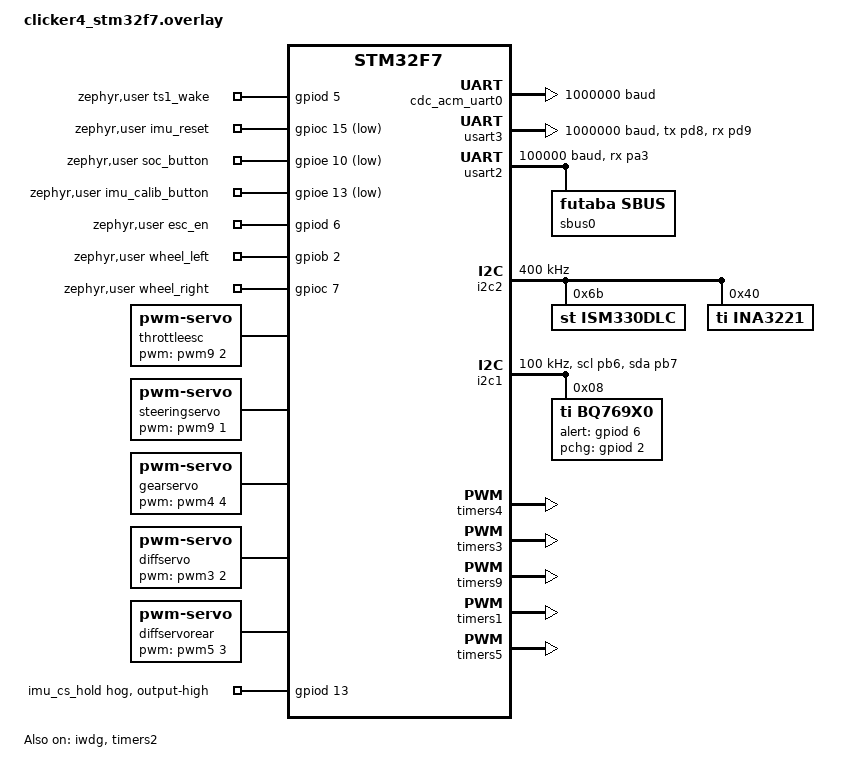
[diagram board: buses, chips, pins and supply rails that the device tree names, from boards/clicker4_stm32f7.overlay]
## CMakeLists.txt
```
# SPDX-License-Identifier: Apache-2.0


message(WARNING 
"========================================================================
MICRO-ROS BUILD NOTICE:
If you have changed the target board/port and are doing a pristine build,
you may need to manually remove micro-ROS build artifacts:
  rm -rf modules/lib/micro_ros_zephyr_module/modules/libmicroros/libmicroros.a
  rm -rf modules/lib/micro_ros_zephyr_module/modules/libmicroros/micro_ros_src/build
This ensures micro-ROS rebuilds for the correct target architecture.
========================================================================")


cmake_minimum_required(VERSION 3.13.1)

list(APPEND ZEPHYR_EXTRA_MODULES ${CMAKE_CURRENT_SOURCE_DIR}/../../modules/lib/micro_ros_zephyr_module/modules/libmicroros)
list(APPEND ZEPHYR_EXTRA_MODULES
    ${CMAKE_CURRENT_SOURCE_DIR}/../../drivers
    ${CMAKE_CURRENT_SOURCE_DIR}/../../external/modules/debug/segger
)

find_package(Zephyr REQUIRED HINTS $ENV{ZEPHYR_BASE})
project(svea_lli_control C CXX)

# Include directories
target_include_directories(app PRIVATE include)
target_include_directories(app PRIVATE
    ${CMAKE_CURRENT_SOURCE_DIR}/../../modules/lib/svea-bms/app/src
    ${CMAKE_CURRENT_SOURCE_DIR}/../../modules/lib/svea-bms/app/src/bq769x0
)

# Source files
target_sources(app PRIVATE
    src/main.c
    src/control.c
    src/rc_input.c
    src/ros_iface.c
    src/imu_sensor.c
    src/ina3221_sensor.c
    src/wheel_enc.c
    # BMS integration
    src/bms.cpp
    ${CMAKE_CURRENT_SOURCE_DIR}/../../modules/lib/svea-bms/app/src/bms_common.c
    ${CMAKE_CURRENT_SOURCE_DIR}/../../modules/lib/svea-bms/app/src/bms_soc.c
    ${CMAKE_CURRENT_SOURCE_DIR}/../../modules/lib/svea-bms/app/src/wake_chip.c
    ${CMAKE_CURRENT_SOURCE_DIR}/../../modules/lib/svea-bms/app/src/helper.cpp
    ${CMAKE_CURRENT_SOURCE_DIR}/../../modules/lib/svea-bms/app/src/bq769x0/bms_bq769x0.c
    ${CMAKE_CURRENT_SOURCE_DIR}/../../modules/lib/svea-bms/app/src/bq769x0/interface.c
)
```

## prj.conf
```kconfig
CONFIG_GPIO=y
CONFIG_CPP=y

# Micro-ROS configuration
CONFIG_MICROROS=y
CONFIG_MICROROS_TRANSPORT_SERIAL_USB=y
CONFIG_MICROROS_PUBLISHERS="10"
CONFIG_MICROROS_SUBSCRIBERS="10"
CONFIG_MICROROS_CLIENTS="8"
CONFIG_MICROROS_SERVERS="8"
CONFIG_MICROROS_XRCE_DDS_MTU="2048"
CONFIG_UART_LINE_CTRL=y


# Serial/USB for Micro-ROS
CONFIG_USB_DEVICE_STACK=y
CONFIG_USB_CDC_ACM=y
CONFIG_USB_CDC_ACM_RINGBUF_SIZE=16384
CONFIG_USB_REQUEST_BUFFER_SIZE=16384
CONFIG_SERIAL=y
CONFIG_CONSOLE=y
CONFIG_UART_CONSOLE=y
CONFIG_LOG_BACKEND_UART=y
CONFIG_UART_INTERRUPT_DRIVEN=y
CONFIG_UART_USE_RUNTIME_CONFIGURE=y
CONFIG_INPUT=y
CONFIG_INPUT_SBUS=y
# disable SBUS sync events; rely on raw event cadence instead
CONFIG_INPUT_SBUS_SEND_SYNC=n
# Helpful debug while bringing up SBUS
# Set Input subsystem logging to DEBUG level
# CONFIG_INPUT_EVENT_DUMP=y

# Scheduler and threads
CONFIG_NUM_PREEMPT_PRIORITIES=16
CONFIG_SYSTEM_WORKQUEUE_PRIORITY=2
CONFIG_MAIN_STACK_SIZE=8192
CONFIG_MAIN_THREAD_PRIORITY=0
CONFIG_WDT_DISABLE_AT_BOOT=y

# C library and POSIX
CONFIG_NEWLIB_LIBC=y
CONFIG_NEWLIB_LIBC_NANO=n
CONFIG_PTHREAD_IPC=n
CONFIG_POSIX_API=y
CONFIG_POSIX_CLOCK=y

# System
CONFIG_SYS_CLOCK_TICKS_PER_SEC=1000
CONFIG_BUILD_OUTPUT_HEX=y

# Sensors
CONFIG_SENSOR=y
CONFIG_I2C=y
CONFIG_SPI=y
CONFIG_ISM330DLC=y

# Encoders configuration (add specific encoder configs below as needed)
CONFIG_COUNTER=y
CONFIG_COUNTER_TIMER_STM32=y

# PWM control and capture - Zephyr 4.1 compliant
CONFIG_PWM=y
CONFIG_PWM_CAPTURE=y
CONFIG_PWM_STM32=y
CONFIG_PINCTRL=y

# Safety
CONFIG_WATCHDOG=y

# Debug and logging (disable consoles to avoid USART3 conflicts)
CONFIG_STDOUT_CONSOLE=y
CONFIG_PRINTK=y
CONFIG_UART_CONSOLE=y
CONFIG_FAULT_DUMP=2
CONFIG_THREAD_NAME=y
CONFIG_THREAD_MONITOR=y
CONFIG_LOG=n
CONFIG_LOG_DEFAULT_LEVEL=0
# Enable float formatting in logs/printf
CONFIG_CBPRINTF_FP_SUPPORT=y
CONFIG_NEWLIB_LIBC_FLOAT_PRINTF=y
#- Level 0: Off
#- Level 1: Error
#- Level 2: Warning
#- Level 3: Info
#- Level 4: Debug

# Additional debugging
CONFIG_ASSERT=y
CONFIG_ASSERT_VERBOSE=y
CONFIG_COMPILER_WARNINGS_AS_ERRORS=n

CONFIG_STACK_SENTINEL=y
CONFIG_THREAD_ANALYZER=y
CONFIG_ASSERT=y

# CRC support needed by BMS interface (crc8_ccitt)
CONFIG_CRC=y
# Enable TDK HAL so the ICM42x7x driver can include its EMD headers
CONFIG_TDK_HAL=y

CONFIG_SENSOR=y
CONFIG_LOG=y
CONFIG_SENSOR_LOG_LEVEL_DBG=n

# Floating point format support
# Selecting this increases stack size requirements slightly, but increases code size significantly.
CONFIG_CBPRINTF_FP_SUPPORT=y

# Trigger mode: sample is using interrupt triggering
CONFIG_ICM42X70_TRIGGER_OWN_THREAD=y
CONFIG_SERIAL=y
CONFIG_CONSOLE=y
CONFIG_STDOUT_CONSOLE=y
CONFIG_UART_CONSOLE=y
CONFIG_PRINTK=y          
CONFIG_LOG_BACKEND_UART=y  
```

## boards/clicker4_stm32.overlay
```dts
&cdc_acm_uart0 {
    current-speed = <115200>;
    bq769x0: bq769x0@8 {
        compatible = "ti,bq769x0";
        reg = <0x08>;
        alert-gpios = <&gpioa 8 GPIO_ACTIVE_HIGH>;
        pchg-gpios = <&gpiod 2 GPIO_ACTIVE_HIGH>;
        status = "okay";
    };
};

&usart1 {
    current-speed = <115200>;
};

&i2c2 {
    status = "okay";
    clock-frequency = <I2C_BITRATE_FAST>;
    imu: ism330dlc@6b {
        status = "okay";
        compatible = "st,ism330dlc";
        drdy-gpios = <&mb1 15 GPIO_ACTIVE_HIGH>,
                     <&mb1  1 GPIO_ACTIVE_HIGH>;
        accel-odr = <8>;
        gyro-odr = <8>;
        accel-range = <4>;
        gyro-range = <250>;
        reg = <0x6b>;
        label = "ISM330DLC";
    };
};

&iwdg {
    status = "okay";
};

#include <zephyr/dt-bindings/pwm/pwm.h>
#include <zephyr/dt-bindings/input/input-event-codes.h>

/* Pinmux definitions - silkscreen label in comments */
&pinctrl {
    tim1_ch1_pe9: tim1_ch1_pe9    { pinmux = <STM32_PINMUX('E', 9, AF1)>;  }; // P1

    tim2_ch4_pb11: tim2_ch4_pb11   { pinmux = <STM32_PINMUX('B', 11, AF1)>; }; // P3
    tim12_ch1_ph6: tim12_ch1_ph6   { pinmux = <STM32_PINMUX('H', 6, AF9)>;  }; // P4
    tim3_ch1_pa6: tim3_ch1_pa6    { pinmux = <STM32_PINMUX('A', 6, AF2)>;  }; // MISO1
    tim3_ch2_pa7: tim3_ch2_pa7    { pinmux = <STM32_PINMUX('A', 7, AF2)>;  };
    tim4_ch3_pb8: tim4_ch3_pb8    { pinmux = <STM32_PINMUX('B', 8, AF2)>;  }; // SCL1
    tim5_ch1_ph10: tim5_ch1_ph10   { pinmux = <STM32_PINMUX('H', 10, AF2)>; }; // P5
    tim15_ch1_pe4: tim15_ch1_pe4   { pinmux = <STM32_PINMUX('E', 4,  AF2)>; };
    tim9_ch1_pa2: tim9_ch1_pa2    { pinmux = <STM32_PINMUX('A', 2, AF3)>;  }; // TX1 (silkscreen), TX2 (datasheet)
    tim11_ch4_pb9: tim11_ch4_pb9   { pinmux = <STM32_PINMUX('B', 9, AF2)>;  bias-disable;}; // NEW ESC
    tim2_ch1_pa5: tim2_ch1_pa5 { pinmux = <STM32_PINMUX('A', 5, AF1)>; }; // P11 (PA5, TIM2_CH1, SCK1)

    tim2_ch2_pa1: tim2_ch2_pa1 { pinmux = <STM32_PINMUX('A', 1, AF1)>; }; // SCK1 (silkscreen), SCL1 (datasheet)

    //tim14_ch1_pf14: tim14_ch1_pf14 { pinmux = <STM32_PINMUX('F', 14, AF9)>; }; // new ESC out

};

/* PWM Output timers - silkscreen label in comments */
&timers2 {
    status = "okay";
    st,prescaler = <107>;
    pwm2: pwm {
        compatible = "st,stm32-pwm";
        status = "okay";
        #pwm-cells = <3>;
        pinctrl-0 = <&tim2_ch3_pb10 &tim2_ch4_pb11 &tim2_ch1_pa5 &tim2_ch2_pa1>; // P2, P3, P11, PA1
        pinctrl-names = "default";
    };
};

&timers4 {
    status = "okay";
    st,prescaler = <215>;
    pwm4: pwm {
        compatible = "st,stm32-pwm";
        status = "okay";
        #pwm-cells = <3>;
        pinctrl-0 = <&tim11_ch4_pb9>;
        pinctrl-names = "default";
    };
};

/* PWM Input capture timers - silkscreen label in comments */
&timers3 {
    status = "okay";
    st,prescaler = <107>;
    pwm3_in: pwm {
        compatible = "st,stm32-pwm";
        status = "okay";
        #pwm-cells = <3>;
        pinctrl-0 = <&tim3_ch1_pa6>; // MISO1
        pinctrl-names = "default";
    };
};


&timers12 {
    status = "okay";
    st,prescaler = <107>;

    pwm12_in: pwm {
        compatible = "st,stm32-pwm";
        status = "okay";
        #pwm-cells = <3>;
        pinctrl-0 = <&tim12_ch1_ph6>;   // PH6 (P4) now capture
        pinctrl-names = "default";
    };
};

&timers9 {
    status = "okay";
    st,prescaler = <215>;
    pwm9_in: pwm {
        compatible = "st,stm32-pwm";
        status = "okay";
        #pwm-cells = <3>;
        pinctrl-0 = <&tim9_ch1_pa2>; // TX1 (silkscreen), TX2 (datasheet)
        pinctrl-names = "default";
    };
};

&timers5 {
    status = "okay";
    st,prescaler = <107>;
    pwm5_in: pwm {
        compatible = "st,stm32-pwm";
        status = "okay";
        #pwm-cells = <3>;
        pinctrl-0 = <&tim5_ch1_ph10>; // P5
        pinctrl-names = "default";
    };
};


#include <zephyr/dt-bindings/timer/stm32-timer.h>


/ {
    // Servo output nodes - silkscreen label in comments
    steeringservo: servo {
        compatible = "pwm-servo";
        pwms = <&pwm2 2 10000000 PWM_POLARITY_NORMAL>; // P1
        min-pulse = <PWM_USEC(1000)>;
        max-pulse = <PWM_USEC(2100)>;
    };
    gearservo: gear_servo {
        compatible = "pwm-servo";
        pwms = <&pwm2 4 10000000 PWM_POLARITY_NORMAL>; // P3
        min-pulse = <PWM_USEC(1000)>;
        max-pulse = <PWM_USEC(2100)>;
    };
    throttleesc: throttle_esc {
        compatible = "pwm-servo";
        pwms = <&pwm4 4 10000000 PWM_POLARITY_NORMAL>; // P4
        min-pulse = <PWM_USEC(1000)>;
        max-pulse = <PWM_USEC(2100)>;
    };
    diffservo: diff_servo {
        compatible = "pwm-servo";
        pwms = <&pwm2 3 10000000 PWM_POLARITY_NORMAL>; // P2
        min-pulse = <PWM_USEC(1000)>;
        max-pulse = <PWM_USEC(2100)>;
    };
    diffservorear: diff_servo_rear {
        compatible = "pwm-servo";
        pwms = <&pwm2 1 10000000 PWM_POLARITY_NORMAL>; // P11 (PA5, TIM2_CH1, SCK1)
        min-pulse = <PWM_USEC(1000)>;
        max-pulse = <PWM_USEC(2100)>;
    };
};


/ {
    /* Board-specific DT data used by BMS and wake_chip */
    pcb {
        compatible = "bms";
        num-cells-max = <5>;
        num-thermistors-max = <0>;
        current-max = <20>;
        shunt-res = <4000>;
        type = "CustomPack";
        version-str = "svea-v0.1";
        version-num = <1>;
    };

    zephyr,user {
        ts1_wake_gpios = <&gpiob 1 GPIO_ACTIVE_HIGH>;
        /* MikroBUS RST pin selects the CS analog mux (keep host -> IMU path) */
        imu_reset_gpios = <&gpioc 15 GPIO_ACTIVE_LOW>;
    };

    wheel_encoders: wheel_encoders {
        compatible = "gpio-keys";
        status = "disabled";
        wheel_left: wheel_left {
            gpios = <&gpioc 0 GPIO_ACTIVE_HIGH>;
            zephyr,code = <INPUT_KEY_0>;
            label = "WHEEL_LEFT";
            debounce-us = <1000>;
        };
        wheel_right: wheel_right {
            gpios = <&gpioi 10 GPIO_ACTIVE_HIGH>;
            zephyr,code = <INPUT_KEY_1>;
            label = "WHEEL_RIGHT";
            debounce-us = <1000>;
        };
    };
};


/ {
    chosen {
        zephyr,console = &usart3;
        zephyr,shell-uart = &usart3;
    };

    aliases {
        /* PWM capture inputs (RC receiver) - silkscreen label in comments */
        rc-steer    = &pwm3_in;   // MISO1
        rc-high-gear     = &pwm9_in;   // TX1 (silkscreen), TX2 (datasheet)
        rc-throttle = &pwm5_in;   // P5
        rc-override = &pwm12_in;   // SCL1

        /* PWM outputs (servos/ESC) - silkscreen label in comments */
        // steeringservo = &servo;           // P1
        // gearservo = &gear_servo;          // P3
        // throttleesc = &throttle_esc;      // P4
        // diffservo = &diff_servo;          // P2
        // diffservorear = &diff_servo_rear; // PA5, TIM2_CH1, SCK1

        wheel-left-gpio  = &wheel_left;
        wheel-right-gpio = &wheel_right;
        //wheel-right = &timers13;

        imu = &imu;
        watchdog0 = &iwdg;
    };
};
```

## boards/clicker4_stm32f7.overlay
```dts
&cdc_acm_uart0 { // For mikroros
    current-speed = <1000000>;
};

&usart1 {
    status = "disabled";
};

&usart3 {
    status = "okay";
    pinctrl-0 = <&usart3_tx_pd8 &usart3_rx_pd9>;
    pinctrl-names = "default";
    current-speed = <1000000>;
};

/* For input event codes used by futaba,sbus */
#include <zephyr/dt-bindings/input/input-event-codes.h>



&usart2 {
    status = "okay";
    pinctrl-0 = <&usart2_rx_pa3>;
    /* The SBUS driver configures 100000/8E2 at runtime; these are harmless */
    current-speed = <100000>;
    parity = "even";
    stop-bits = "2";
    rx-invert;              /* SBUS is inverted */
    /* optional: hw-flow-control = "none"; */

    /* Map SBUS channels to input events: 1=steer, 2=throttle, 4=diff_button, 6=gear, 5=override */
    sbus0: sbus {
        compatible = "futaba,sbus";
        status = "okay";
        ch1_steer: ch1 {
            channel = <1>;
            type = <INPUT_EV_ABS>;
            zephyr,code = <INPUT_ABS_X>;
        };
        ch2_throttle: ch2 {
            channel = <2>;
            type = <INPUT_EV_ABS>;
            zephyr,code = <INPUT_ABS_Y>;
        };
        ch4_diff_button: ch4 {
            channel = <4>;
            type = <INPUT_EV_ABS>;
            zephyr,code = <INPUT_ABS_Z>;
        };
        ch5_override: ch5 {
            channel = <5>;
            type = <INPUT_EV_ABS>;
            zephyr,code = <INPUT_ABS_RX>;
        };
        ch6_gear: ch6 {
            channel = <6>;
            type = <INPUT_EV_ABS>;
            zephyr,code = <INPUT_ABS_RY>;
        };
    };
};

&button4 {
    status = "disabled";
};

&i2c2 {
    status = "okay";
    clock-frequency = <I2C_BITRATE_FAST>; // Somethings weird with it, fast only works with too aggressive a pullup

icm42670: icm42670@68 {
    compatible = "invensense,icm42670p";
    reg = <0x68>;
    //int-gpios = <&gpioc 7 GPIO_ACTIVE_HIGH>;

    gyro-hz = <800>;
    accel-hz = <800>;
    accel-fs = <8>;
    gyro-fs = <1000>;
    status = "disabled";
};
   ism330dlc: ism330dlc@6b {
        compatible = "st,ism330dlc";
        reg = <0x6b>;
        //drdy-gpios = <&gpiod 0 GPIO_ACTIVE_HIGH>;
        //int-pin = <1>;
        accel-odr = <9>;
        accel-range = <8>;
        gyro-odr = <8>;
        gyro-range = <1000>;
        status = "okay";
    };
    ina3221: ina3221@40 {
        compatible = "ti,ina3221";
        reg = <0x40>;
        shunt-resistors = <4 8 8>; /* ESC=4 mOhm, 12V=8 mOhm, 5V=8 mOhm */
        avg-mode = <1>;              /* 128-sample average for less noise */
        conv-time-bus = <2>;         
        conv-time-shunt = <4>;       /* 1.1 ms */
        status = "okay";
    };

};

&i2c1 {
    status = "okay";
    pinctrl-0 = <&i2c1_scl_pb6 &i2c1_sda_pb7>;
    pinctrl-names = "default";
    clock-frequency = <I2C_BITRATE_STANDARD>;

    /* Battery monitor (TI bq769x0 family) relocated to I2C1 */
    bq769x0: bq769x0@8 {
        compatible = "ti,bq769x0";
        reg = <0x08>;
        /* ALERT pin from BMS IC to MCU GPIO (adjust to your wiring) */
        alert-gpios = <&gpiod 6 GPIO_ACTIVE_HIGH>; /* ALERT rerouted to PD6 */
        /* Precharge control (BQ76200 PCHG) connected to PD2 */
        pchg-gpios = <&gpiod 2 GPIO_ACTIVE_HIGH>;
        status = "okay";
    };
};

&spi1 {
    status = "disabled";
};

&gpiod {
    imu_cs_hold: imu_cs_hold {
        gpio-hog;
        gpios = <13 GPIO_ACTIVE_HIGH>;
        output-high;
    };
};

&gpioc {
    /* PC15 is routed to mikroBUS1 RST */
};

&iwdg {
    status = "okay";
};

#include <zephyr/dt-bindings/pwm/pwm.h>
// #include <st/f7/stm32f745i(e-g)tx-pinctrl.dtsi>
/* PWM Output timers - silkscreen label in comments */
/* TIM2 no longer used for PWM on PB10/PB11 to avoid I2C2 conflict */
&timers2 {
    status = "okay";
};

&timers4 {
    status = "okay";
    st,prescaler = <215>;
    pwm4: pwm {
        compatible = "st,stm32-pwm";
        status = "okay";
        #pwm-cells = <3>;
        pinctrl-0 = <&tim4_ch4_pb9>; // PB9 (Servo P2) via TIM4_CH4
        pinctrl-names = "default";
    };
};

/* PWM Input capture timers - silkscreen label in comments */
&timers3 {
    status = "okay";
    st,prescaler = <107>;
    pwm3: pwm {
        compatible = "st,stm32-pwm";
        status = "okay";
        #pwm-cells = <3>;
        pinctrl-0 = <&tim3_ch2_pb5>; // PB5 (Diff front)
        pinctrl-names = "default";
    };
};

&timers9 {
    status = "okay";
    st,prescaler = <215>;
    pwm9: pwm {
        compatible = "st,stm32-pwm";
        status = "okay";
        #pwm-cells = <3>;
        pinctrl-0 = < &tim9_ch1_pe5 &tim9_ch2_pe6>; // PE5 (Servo P3) TIM9_CH1, PE6 (Servo P4) TIM9_CH2
        pinctrl-names = "default";
    };
};

/* TIM15 is not present on STM32F745; use TIM1 instead for rear diff (PE9 TIM1_CH1) */
&timers1 {
    status = "okay";
    st,prescaler = <215>;
    pwm1: pwm {
        compatible = "st,stm32-pwm";
        status = "okay";
        #pwm-cells = <3>;
        pinctrl-0 = <&tim1_ch1_pe9 &tim1_ch4_pe14>; // PE9 (unused reserve), PE14 (Diff front)
        pinctrl-names = "default";
    };
};

&timers5 {
    status = "okay";
    st,prescaler = <215>;
    pwm5: pwm {
        compatible = "st,stm32-pwm";
        status = "okay";
        #pwm-cells = <3>;
        pinctrl-0 = <&tim5_ch3_pa2>; // PA2 (Servo P5) via TIM5_CH3
        pinctrl-names = "default";
    };
};


#include <zephyr/dt-bindings/timer/stm32-timer.h>


/ {
    /* Board-specific constants expected by BMS lib */
    pcb {
        compatible = "bms";
        /* Adjust these to your pack and shunt */
        num-cells-max = <5>;              /* e.g. 3S-5S bq76920 */
        num-thermistors-max = <0>;        /* set 0/1/2/3 matching your wiring */
        current-max = <30>;               /* A, informational */
        shunt-res = <4000>;               /* mOhm in milli (e.g. 4 mOhm => 4000) */
        type = "Powerboard 3.0";
        version-str = "svea-v0.1";
        version-num = <1>;
    };

    /* TS1 wake control GPIO for the BMS IC (used by wake_chip.c) */
    zephyr,user {
        ts1_wake_gpios = <&gpiod 5 GPIO_ACTIVE_HIGH>; /* adjust to your wiring */
        /* MikroBUS RST pin selects the CS analog mux (keep host -> IMU path) */
        imu_reset_gpios = <&gpioc 15 GPIO_ACTIVE_LOW>; /* mikroBUS1 RST */
        soc_button_gpios = <&gpioe 10 GPIO_ACTIVE_LOW>; /* User BTN1 */
        imu_calib_button_gpios = <&gpioe 13 (GPIO_ACTIVE_LOW | GPIO_PULL_UP)>; /* User BTN4 */
        esc_en_gpios = <&gpiod 6 (GPIO_OPEN_DRAIN | GPIO_ACTIVE_HIGH)>; /* PD6 to enable ESCs (active high) */
        wheel_left_gpios = <&gpiob 2 GPIO_ACTIVE_HIGH>;
        wheel_right_gpios = <&gpioc 7 GPIO_ACTIVE_HIGH>;
    };


    throttleesc: throttle_esc {
        compatible = "pwm-servo";
        pwms = <&pwm9 2 10000000 PWM_POLARITY_NORMAL>; // throttle -> PE6 TIM9_CH2
        min-pulse = <PWM_USEC(1000)>;
        max-pulse = <PWM_USEC(2100)>;
    };

    // Servo output nodes - silkscreen label in comments
    steeringservo: servo {
        compatible = "pwm-servo";
        pwms = <&pwm9 1 10000000 PWM_POLARITY_NORMAL>; // steer -> PE5 TIM9_CH1
        min-pulse = <PWM_USEC(1000)>;
        max-pulse = <PWM_USEC(2100)>;
    };
    gearservo: gear_servo {
        compatible = "pwm-servo";
        pwms = <&pwm4 4 10000000 PWM_POLARITY_NORMAL>; // speed -> PB9 TIM4_CH4
        min-pulse = <PWM_USEC(1000)>;
        max-pulse = <PWM_USEC(2100)>;
    };
    diffservo: diff_servo {
        compatible = "pwm-servo";
        pwms = <&pwm3 2 10000000 PWM_POLARITY_NORMAL>; // diff front -> PB5 TIM3_CH2
        min-pulse = <PWM_USEC(1000)>;
        max-pulse = <PWM_USEC(2100)>;
    };
    diffservorear: diff_servo_rear {
        compatible = "pwm-servo";
        status = "okay";
        pwms = <&pwm5 3 10000000 PWM_POLARITY_NORMAL>; // rear diff -> PA2 TIM5_CH3
        min-pulse = <PWM_USEC(1000)>;
        max-pulse = <PWM_USEC(2100)>;
    };
};

/ {
    chosen {
        zephyr,console = &usart3;
        zephyr,shell-uart = &usart3;
    };

    aliases {
        /* RC PWM capture aliases removed: using SBUS on USART2 instead */
        imu = &ism330dlc;
        ina3221 = &ina3221;
        watchdog0 = &iwdg;
    };
};
```

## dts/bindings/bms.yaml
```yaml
# Copyright (c) The Libre Solar Project Contributors
# SPDX-License-Identifier: Apache-2.0

description: Generic BMS device setup

compatible: "bms"

properties:
  type:
    type: string
    required: true
    description: Device type

  version-str:
    type: string
    required: true
    description: Hardware version number (human-readable)

  version-num:
    type: int
    required: true
    description: Hardware version number (usable in preprocessor defines)

  num-cells-max:
    type: int
    required: true
    description: Maximum number of cells supported by this board

  num-thermistors-max:
    type: int
    required: true
    description: Maximum number of thermistors supported by this board

  current-max:
    type: int
    description: Maximum charge/discharge current in amps

  shunt-res:
    type: int
    description: Resistance of shunt in micro-Ohms
```

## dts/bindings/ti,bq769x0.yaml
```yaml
# Copyright (c) The Libre Solar Project Contributors
# SPDX-License-Identifier: Apache-2.0

description: Texas Instruments bq769x0 li-ion and li-phosphate battery monitor

compatible: "ti,bq769x0"

include: i2c-device.yaml

properties:
  alert-gpios:
    type: phandle-array
    required: true
    description: Alert interrupt of bq769x0

  pchg-gpios:
    type: phandle-array
    required: false
    description: |
      GPIO to enable/disable the bus pre-charge MOSFET.
```

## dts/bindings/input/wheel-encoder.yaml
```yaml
description: Custom wheel encoder key with debounce
compatible: "wheel-encoder-key"
include: base.yaml
properties:
  gpios:
    type: phandle-array
    required: true
  label:
    type: string
  debounce-us:
    type: int
    required: false
    description: Debounce time in microseconds
```

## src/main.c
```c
#/* * * * * * * * * * * * * * * * * * * * * * * * * * * * * * * * * * * * * * * *
# * SVEA Note.
# *
# * Part of the SVEA Low‑Level Interface (Zephyr) application.
# * Author: Nils Kiefer
# * * * * * * * * * * * * * * * * * * * * * * * * * * * * * * * * * * * * * * */

#include "control.h"
#include "imu_sensor.h"
#include "ina3221_sensor.h"
#include "rc_input.h"
#include "ros_iface.h"
#include "wheel_enc.h"
#include <stdio.h>
#include <zephyr/drivers/watchdog.h>
#include <zephyr/kernel.h>
#include <zephyr/logging/log.h>
#include <zephyr/usb/usb_device.h>
LOG_MODULE_REGISTER(main, LOG_LEVEL_INF);

#define WDT_TIMEOUT_MS 2000

static const struct device *wdt;
static int wdt_channel_id = -1;

static void app_wdt_setup(void) {
    wdt = DEVICE_DT_GET(DT_ALIAS(watchdog0));
    if (!device_is_ready(wdt)) {
        LOG_ERR("Watchdog device not ready!");
        return;
    }

    struct wdt_timeout_cfg cfg = {
        .window = {
            .min = 0,
            .max = WDT_TIMEOUT_MS,
        },
        .callback = NULL, // NULL = reset on timeout
        .flags = WDT_FLAG_RESET_SOC};

    wdt_channel_id = wdt_install_timeout(wdt, &cfg);
    if (wdt_channel_id < 0) {
        LOG_ERR("Failed to install watchdog timeout");
        return;
    }
    if (wdt_setup(wdt, 0) < 0) { // This line is correct: calls Zephyr's wdt_setup
        LOG_ERR("Failed to setup watchdog");
    } else {
        LOG_INF("Watchdog started (%d ms timeout)", WDT_TIMEOUT_MS);
    }
}

int main(void) {
    LOG_INF("SVEA LLI starting");
    k_sleep(K_SECONDS(1)); // Allow time for logging to initialize
    app_wdt_setup();
    k_sleep(K_SECONDS(1)); // Allow time for watchdog setup

    rc_input_init();
    servo_init();

    if (ina3221_sensor_init() != 0) {
        LOG_WRN("INA3221 sensor init failed");
    }
    imu_sensor_start();
    wheel_enc_init();

    ros_iface_init();

    while (1) {
        if (wdt_channel_id >= 0) {
            wdt_feed(wdt, wdt_channel_id);
        }
        k_sleep(K_MSEC(500)); // Feed often enough to avoid reset
    }

    return 0;
}
```

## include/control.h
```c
/* * * * * * * * * * * * * * * * * * * * * * * * * * * * * * * * * * * * * * * *
 * SVEA Note.
 *
 * Part of the SVEA Low‑Level Interface (Zephyr) application.
 * Author: Nils Kiefer
 * * * * * * * * * * * * * * * * * * * * * * * * * * * * * * * * * * * * * * */
#ifndef CONTROL_H
#define CONTROL_H

#include <zephyr/drivers/pwm.h>

typedef struct {
    struct pwm_dt_spec spec;
} servo_t;

enum {
    SERVO_STEERING = 0,
    SERVO_GEAR,
    SERVO_THROTTLE,
    SERVO_DIFF,
    SERVO_DIFF_REAR,
    SERVO_COUNT
};

typedef struct {
    int8_t steering;
    int8_t throttle;
    bool high_gear;
    bool diff;
    uint32_t timestamp;
} ros_ctrl_t;

extern ros_ctrl_t g_ros_ctrl;
extern servo_t servos[SERVO_COUNT];
extern bool remote_connected;
extern bool forward_guess;

void servo_init(void);

#endif // CONTROL_H
```

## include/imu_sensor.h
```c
/* * * * * * * * * * * * * * * * * * * * * * * * * * * * * * * * * * * * * * * *
 * SVEA Note.
 *
 * Part of the SVEA Low‑Level Interface (Zephyr) application.
 * Author: Nils Kiefer
 * * * * * * * * * * * * * * * * * * * * * * * * * * * * * * * * * * * * * * */
#ifndef IMU_SENSOR_H_
#define IMU_SENSOR_H_

void imu_sensor_start(void);
int imu_sensor_quick_check(void);

#endif /* IMU_SENSOR_H_ */
```

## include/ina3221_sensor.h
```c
/* * * * * * * * * * * * * * * * * * * * * * * * * * * * * * * * * * * * * * * *
 * SVEA Note.
 *
 * Part of the SVEA Low‑Level Interface (Zephyr) application.
 * Author: Nils Kiefer
 * * * * * * * * * * * * * * * * * * * * * * * * * * * * * * * * * * * * * * */
#ifndef INA3221_SENSOR_H_
#define INA3221_SENSOR_H_

#include <zephyr/drivers/sensor.h>

#ifdef __cplusplus
extern "C" {
#endif

struct ina3221_measurement {
    struct sensor_value bus_voltage[3];
    struct sensor_value shunt_current[3];
    struct sensor_value power[3];
};

int ina3221_sensor_init(void);
int ina3221_sensor_get_latest(struct ina3221_measurement *sample);

#ifdef __cplusplus
}
#endif

#endif /* INA3221_SENSOR_H_ */
```

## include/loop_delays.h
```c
// TODO add kconfig instead of this caveman style

/* Helpers */
#define DIV_ROUND_CLOSEST(n, d) (((n) + (d) / 2) / (d))
#define MAX_U(a, b) ((uint32_t)((a) > (b) ? (a) : (b)))

/* Convert Hz → milliseconds, rounded, never 0 ms */
#define HZ_TO_MS(hz) MAX_U(1U, (uint32_t)DIV_ROUND_CLOSEST(1000U, (hz)))

/* Frequencies (Hz) */
#define IMU_PUBLISH_HZ 50U
#define RC_INPUT_PUBLISH_HZ 10U
#define RC_INPUT_CONNECTED_PUBLISH_HZ 500U
#define BMS_PUBLISH_HZ 1U
#define WHEEL_ENC_PUBLISH_HZ 50U
#define INA3221_PUBLISH_HZ 10U
#define CONTROL_LOOP_HZ 100U
#define ROS_SPIN_HZ 100U
#define ROS_TIME_SYNC_HZ 1U

/* Derived delays (ms) */
#define IMU_PUBLISH_LOOP_DELAY_MS HZ_TO_MS(IMU_PUBLISH_HZ)
#define RC_INPUT_PUBLISH_LOOP_DELAY_MS HZ_TO_MS(RC_INPUT_PUBLISH_HZ)
#define RC_INPUT_CONNECTED_PUBLISH_LOOP_DELAY_MS HZ_TO_MS(RC_INPUT_CONNECTED_PUBLISH_HZ)
#define BMS_PUBLISH_LOOP_DELAY_MS HZ_TO_MS(BMS_PUBLISH_HZ)
#define WHEEL_ENC_PUBLISH_LOOP_DELAY_MS HZ_TO_MS(WHEEL_ENC_PUBLISH_HZ)
#define INA3221_PUBLISH_LOOP_DELAY_MS HZ_TO_MS(INA3221_PUBLISH_HZ)
#define CONTROL_LOOP_DELAY_MS HZ_TO_MS(CONTROL_LOOP_HZ)
#define ROS_SPIN_LOOP_DELAY_MS HZ_TO_MS(ROS_SPIN_HZ)
#define ROS_TIME_SYNC_LOOP_DELAY_MS HZ_TO_MS(ROS_TIME_SYNC_HZ)
```

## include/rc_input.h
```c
/* * * * * * * * * * * * * * * * * * * * * * * * * * * * * * * * * * * * * * * *
 * SVEA Note.
 *
 * Part of the SVEA Low‑Level Interface (Zephyr) application.
 * Author: Nils Kiefer
 * * * * * * * * * * * * * * * * * * * * * * * * * * * * * * * * * * * * * * */
#pragma once

#include <stdbool.h>
#include <stdint.h>

typedef enum {
    RC_STEER = 0,
    RC_HIGH_GEAR,
    RC_THROTTLE,
    RC_OVERRIDE,
    RC_DIFF_TOGGLE,
    NUM_RC_CHANNELS
} rc_channel_t;

// Three-way override switch mapping (based on RC channel ~1000/1500/2000us)
typedef enum {
    RC_OVERRIDE_ROS = 0,   // ~1000us: ROS control
    RC_OVERRIDE_MUTE = 1,  // ~1500us: override engaged but outputs muted (PWM=0)
    RC_OVERRIDE_REMOTE = 2 // ~2000us: full manual override (RC passthrough)
} rc_override_mode_t;

/* Initialize SBUS (USART2) RC input */
void rc_input_init(void);

/* Print SBUS debug information (raw channels, mapped us, age). */
void rc_input_debug_dump(void);

// Returns the latest captured pulse width (timer ticks) for the channel
uint32_t rc_get_age_us(rc_channel_t ch);
uint32_t rc_get_pulse_us(rc_channel_t ch);

/* Returns true if fresh SBUS data has been received recently. */
bool rc_input_connected(void);

// Decode three-way override switch position from RC channel
rc_override_mode_t rc_get_override_mode(void);

// Returns true once per CH4 rising edge (>1600us), then clears the latch
bool rc_consume_diff_toggle_event(void);
```

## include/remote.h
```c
#ifndef REMOTE_H
#define REMOTE_H

#include <zephyr/kernel.h>
#include <zephyr/sys/atomic.h>

#define NUM_RC_CHANNELS 4

typedef enum {
    RC_STEER = 0,
    RC_HIGH_GEAR = 1,
    RC_THROTTLE = 2,
    RC_OVERRIDE = 3
} rc_channel_t;

typedef struct {
    union {
        struct {
            uint32_t steer;
            uint32_t high_gear_us;
            uint32_t throttle;
            uint32_t override_us;
        };
        uint32_t fields[NUM_RC_CHANNELS];
    };
} RemoteState;

BUILD_ASSERT(ARRAY_SIZE(((RemoteState *)NULL)->fields) == NUM_RC_CHANNELS,
             "RemoteState.fields[] must match NUM_RC_CHANNELS");

extern struct k_msgq rc_q;

void remote_init(void);
void remote_report(int ch, uint32_t us);
void remote_link_lost(int ch);
bool remote_is_valid(void);
bool remote_all_channels_valid(void);

#endif // REMOTE_H
```

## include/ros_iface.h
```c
/* * * * * * * * * * * * * * * * * * * * * * * * * * * * * * * * * * * * * * * *
 * SVEA Note.
 *
 * Part of the SVEA Low‑Level Interface (Zephyr) application.
 * Author: Nils Kiefer
 * * * * * * * * * * * * * * * * * * * * * * * * * * * * * * * * * * * * * * */
#ifndef ROS_IFACE_H
#define ROS_IFACE_H

#include "rc_input.h"
#include <rcl/rcl.h>
#include <sensor_msgs/msg/imu.h>
#include <std_msgs/msg/bool.h>
#include <std_msgs/msg/float32_multi_array.h>
#include <std_msgs/msg/u_int8.h>
#include <zephyr/kernel.h>

#ifdef __cplusplus
extern "C" {
#endif

typedef struct {
    uint32_t steering_us;
    uint32_t throttle_us;
    bool high_gear;
    bool diff_locked;
    int64_t timestamp;
} ros_command_t;

void ros_iface_init(void);
void ros_get_command(ros_command_t *cmd);
extern bool ros_initialized;

// Sensors
extern rcl_publisher_t pub_remote_steer;
extern rcl_publisher_t pub_remote_throttle;
extern rcl_publisher_t pub_remote_gear;
extern rcl_publisher_t pub_remote_override;
extern rcl_publisher_t pub_remote_connected;
extern rcl_publisher_t imu_pub;
extern rcl_publisher_t encoders_pub;
extern rcl_publisher_t ina3221_pub;
extern rcl_publisher_t battery_pub;

// Non-blocking best-effort publish; returns RCL_RET_OK on success, RCL_RET_ERROR if skipped
rcl_ret_t ros_publish_try(rcl_publisher_t *pub, const void *msg);
// Thread-safe publish (blocking) on reliable stream
rcl_ret_t ros_publish_locked(rcl_publisher_t *pub, const void *msg);

void ros_iface_handle_remote_publish_error(void);

uint64_t ros_iface_epoch_millis(void);
uint64_t ros_iface_epoch_nanos(void);

#ifdef __cplusplus
}
#endif

#endif // ROS_IFACE_H
```

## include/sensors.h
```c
#ifndef SENSORS_H
#define SENSORS_H

void sensors_init(void);
void sensors_thread(void *p1, void *p2, void *p3);

/* Quick, ROS-free IMU diagnostic.
 * Returns 0 on success (sample fetched), <0 on error.
 * Logs one line with accel [m/s^2] and gyro [rad/s]. */
int sensors_imu_quick_check(void);

#endif // SENSORS_H
```

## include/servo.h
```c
#ifndef SERVO_H
#define SERVO_H

#endif // SERVO_H
```

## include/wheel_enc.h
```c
/* * * * * * * * * * * * * * * * * * * * * * * * * * * * * * * * * * * * * * * *
 * SVEA Note.
 *
 * Part of the SVEA Low‑Level Interface (Zephyr) application.
 * Author: Nils Kiefer
 * * * * * * * * * * * * * * * * * * * * * * * * * * * * * * * * * * * * * * */
#ifndef WHEEL_ENC_H_
#define WHEEL_ENC_H_

#include <stdint.h>

/* one-time setup ---------------------------------------------------------- */
void wheel_enc_init(void);

/* rolling-window tick count ---------------------------------------------- */
uint16_t wheel_left_ticks(void);
uint16_t wheel_right_ticks(void);

#endif /* WHEEL_ENC_H_ */
```

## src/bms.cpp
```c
// SPDX-License-Identifier: Apache-2.0

#include "bms.h"
#include "loop_delays.h"
#include "ros_iface.h"
#include "wake_chip.h"
#include <zephyr/devicetree.h>
#include <zephyr/drivers/gpio.h>
#include <zephyr/kernel.h>
#include <zephyr/logging/log.h>
#include <zephyr/sys/util.h>
// bq769x0 low-level access for debug prints
#include "interface.h"
#include "registers.h"

#include <math.h>
#include <rosidl_runtime_c/primitives_sequence_functions.h>
#include <rosidl_runtime_c/string_functions.h>
#include <sensor_msgs/msg/battery_state.h>

LOG_MODULE_REGISTER(bms_task, CONFIG_LOG_DEFAULT_LEVEL);

// Global BMS instance accessible to other modules if needed
static Bms g_bms;

static float peak_charge_a;
static float peak_discharge_a;

#define BATTERY_PUBLISHER_STACK_SIZE 2048
#define BATTERY_PUBLISHER_PRIORITY 6

static K_THREAD_STACK_DEFINE(battery_thread_stack, BATTERY_PUBLISHER_STACK_SIZE);
static struct k_thread battery_thread_data;
static sensor_msgs__msg__BatteryState battery_msg;
static bool battery_msg_ready;
static const float BATTERY_NAN = NAN;

static uint8_t bms_health_from_flags(uint32_t flags) {
    if (flags == 0U) {
        return sensor_msgs__msg__BatteryState__POWER_SUPPLY_HEALTH_GOOD;
    }

    if (flags & ((1UL << BMS_ERR_CHG_OVERTEMP) | (1UL << BMS_ERR_DIS_OVERTEMP) |
                 (1UL << BMS_ERR_FET_OVERTEMP) | (1UL << BMS_ERR_INT_OVERTEMP))) {
        return sensor_msgs__msg__BatteryState__POWER_SUPPLY_HEALTH_OVERHEAT;
    }

    if (flags & ((1UL << BMS_ERR_CHG_UNDERTEMP) | (1UL << BMS_ERR_DIS_UNDERTEMP))) {
        return sensor_msgs__msg__BatteryState__POWER_SUPPLY_HEALTH_COLD;
    }

    if (flags & (1UL << BMS_ERR_CELL_OVERVOLTAGE)) {
        return sensor_msgs__msg__BatteryState__POWER_SUPPLY_HEALTH_OVERVOLTAGE;
    }

    if (flags & (1UL << BMS_ERR_CELL_UNDERVOLTAGE)) {
        return sensor_msgs__msg__BatteryState__POWER_SUPPLY_HEALTH_DEAD;
    }

    return sensor_msgs__msg__BatteryState__POWER_SUPPLY_HEALTH_UNSPEC_FAILURE;
}

static uint8_t bms_power_supply_status(const BmsStatus *status, float current_a) {
    if (current_a > 0.1f) {
        return sensor_msgs__msg__BatteryState__POWER_SUPPLY_STATUS_CHARGING;
    }
    if (current_a < -0.1f) {
        return sensor_msgs__msg__BatteryState__POWER_SUPPLY_STATUS_DISCHARGING;
    }
    if (status->full) {
        return sensor_msgs__msg__BatteryState__POWER_SUPPLY_STATUS_FULL;
    }
    return sensor_msgs__msg__BatteryState__POWER_SUPPLY_STATUS_NOT_CHARGING;
}

#if DT_NODE_HAS_PROP(DT_PATH(zephyr_user), soc_button_gpios)
static const struct gpio_dt_spec soc_button =
    GPIO_DT_SPEC_GET(DT_PATH(zephyr_user), soc_button_gpios);
#define SOC_BUTTON_PRESENT 1
#else
#define SOC_BUTTON_PRESENT 0
#endif

static const struct gpio_dt_spec soc_led_pins[] = {
    GPIO_DT_SPEC_GET(DT_NODELABEL(led1), gpios),
    GPIO_DT_SPEC_GET(DT_NODELABEL(led2), gpios),
    GPIO_DT_SPEC_GET(DT_NODELABEL(led3), gpios),
    GPIO_DT_SPEC_GET(DT_NODELABEL(led4), gpios),
    GPIO_DT_SPEC_GET(DT_NODELABEL(led5), gpios),
    GPIO_DT_SPEC_GET(DT_NODELABEL(led6), gpios),
};

static struct gpio_callback soc_button_cb;
static struct k_work soc_display_work;
static struct k_work_delayable soc_clear_work;
static bool soc_leds_ready;

static void soc_leds_off(void) {
    for (size_t i = 0; i < ARRAY_SIZE(soc_led_pins); ++i) {
        gpio_pin_set_dt(&soc_led_pins[i], 0);
    }
}

static void soc_clear_work_handler(struct k_work *work) {
    ARG_UNUSED(work);
    soc_leds_off();
}

static void soc_display_work_handler(struct k_work *work) {
    ARG_UNUSED(work);

    float soc = g_bms.status.soc;
    if (soc < 0.0f) {
        soc = 0.0f;
    } else if (soc > 100.0f) {
        soc = 100.0f;
    }

    static const float thresholds[] = {5.f, 25.f, 45.f, 65.f, 85.f, 97.f};
    int leds_on = 0;
    for (size_t i = 0; i < ARRAY_SIZE(thresholds) && i < ARRAY_SIZE(soc_led_pins); ++i) {
        if (soc >= thresholds[i]) {
            leds_on = (int)i + 1;
        }
    }

    for (int i = 0; i < (int)ARRAY_SIZE(soc_led_pins); ++i) {
        gpio_pin_set_dt(&soc_led_pins[i], 0);
    }

    for (int i = 0; i < leds_on; ++i) {
        gpio_pin_set_dt(&soc_led_pins[i], 1);
        k_msleep(60);
    }

    for (int i = leds_on; i < (int)ARRAY_SIZE(soc_led_pins); ++i) {
        gpio_pin_set_dt(&soc_led_pins[i], 0);
    }

    k_work_reschedule(&soc_clear_work, K_SECONDS(1));
}

static void soc_button_isr(const struct device *port, struct gpio_callback *cb, uint32_t pins) {
    ARG_UNUSED(port);
    ARG_UNUSED(cb);
    ARG_UNUSED(pins);

    if (soc_leds_ready) {
        k_work_submit(&soc_display_work);
    }
}

static void soc_indicator_init(void) {
#if SOC_BUTTON_PRESENT
    int err;

    for (size_t i = 0; i < ARRAY_SIZE(soc_led_pins); ++i) {
        if (!device_is_ready(soc_led_pins[i].port)) {
            LOG_WRN("SoC LED %zu port not ready", i);
            continue;
        }
        err = gpio_pin_configure_dt(&soc_led_pins[i], GPIO_OUTPUT_INACTIVE);
        if (err) {
            LOG_WRN("SoC LED %zu configure failed: %d", i, err);
        }
    }

    if (!device_is_ready(soc_button.port)) {
        LOG_WRN("SoC button port not ready");
        return;
    }

    err = gpio_pin_configure_dt(&soc_button, GPIO_INPUT);
    if (err) {
        LOG_WRN("SoC button configure failed: %d", err);
        return;
    }

    err = gpio_pin_interrupt_configure_dt(&soc_button, GPIO_INT_EDGE_TO_ACTIVE);
    if (err) {
        LOG_WRN("SoC button interrupt configure failed: %d", err);
        return;
    }

    gpio_init_callback(&soc_button_cb, soc_button_isr, BIT(soc_button.pin));
    gpio_add_callback(soc_button.port, &soc_button_cb);

    k_work_init(&soc_display_work, soc_display_work_handler);
    k_work_init_delayable(&soc_clear_work, soc_clear_work_handler);

    soc_leds_ready = true;
    LOG_INF("SoC LED indicator ready");
#endif
}

static void print_bms_status(const Bms *bms) {
    return; // disable detailed BMS status prints
    if (bms->status.pack_current > peak_charge_a) {
        peak_charge_a = bms->status.pack_current;
    }
    if (bms->status.pack_current < peak_discharge_a) {
        peak_discharge_a = bms->status.pack_current;
    }

    printf("\n--- BMS Telemetry ---\n");
    static const char *state_names[] = {"OFF", "CHG", "DIS", "NORMAL", "SHUTDOWN"};
    printf("State: %s (%u)  |  SoC: %.1f %%  |  Full: %d  Empty: %d\n",
           state_names[bms->status.state], bms->status.state, bms->status.soc, bms->status.full,
           bms->status.empty);

    printf("Pack Voltage: %.3f V  |  Pack Current: %.3f A\n", bms->status.pack_voltage,
           bms->status.pack_current);
    printf("Peak Currents: Charge %.3f A  Discharge %.3f A\n", peak_charge_a, peak_discharge_a);
    printf("Stack Voltage: %.3f V\n", bms->status.stack_voltage);

    printf("Cell Voltages: ");
    for (int i = 0; i < 5; i++) {
        printf("%.3f V ", bms->status.cell_voltages[i]);
    }
    printf("\nCell Min: %.3f V  |  Avg: %.3f V  |  Max: %.3f V\n", bms->status.cell_voltage_min,
           bms->status.cell_voltage_avg, bms->status.cell_voltage_max);

    printf("Temps: BatMin %.1f °C  BatAvg %.1f °C  BatMax %.1f °C\n", bms->status.bat_temp_min,
           bms->status.bat_temp_avg, bms->status.bat_temp_max);
    printf("       MOSFET %.1f °C  IC %.1f °C  MCU %.1f °C\n", bms->status.mosfet_temp,
           bms->status.ic_temp, bms->status.mcu_temp);

    printf("Balancing status: 0x%08x\n", bms->status.balancing_status);
    printf("Error flags:      0x%08x\n", bms->status.error_flags);

    if (bms->status.error_flags) {
        printf("  Active errors:\n");
        const char *err_desc[] = {
            "Cell undervoltage",                     // 0
            "Cell overvoltage",                      // 1
            "Pack short circuit (discharge)",        // 2
            "Pack overcurrent (discharge)",          // 3
            "Pack overcurrent (charge)",             // 4
            "Cell open wire",                        // 5
            "Temp below discharge min",              // 6
            "Temp above discharge max",              // 7
            "Temp below charge min",                 // 8
            "Temp above charge max",                 // 9
            "Internal temp above limit",             // 10
            "Cell failure (voltage diff)",           // 11
            "Discharge FET off (should be on)",      // 12
            "Charge FET off (should be on)",         // 13
            "MOSFET temp above limit",               // 14
            "No alert from monitor",                 // 15
            "ADC calibration registers bad",         // 16
            "Measured cell voltage implausibly low", // 17
            "Measured cell voltage implausibly high" // 18
        };
        for (size_t i = 0; i < ARRAY_SIZE(err_desc); i++) {
            if (bms->status.error_flags & (1U << i)) {
                printf("    - %s\n", err_desc[i]);
            }
        }
    } else {
        printf("  No errors detected.\n");
    }
    uint8_t sys_stat = bq769x0_read_byte(BQ769X0_SYS_STAT);
    uint8_t protect1 = bq769x0_read_byte(BQ769X0_PROTECT1);
    uint8_t protect2 = bq769x0_read_byte(BQ769X0_PROTECT2);
    LOG_INF("SYS_STAT=0x%02x PROTECT1=0x%02x PROTECT2=0x%02x", sys_stat, protect1, protect2);
}

static bool battery_message_prepare(void) {
    if (battery_msg_ready) {
        return true;
    }

    if (!sensor_msgs__msg__BatteryState__init(&battery_msg)) {
        LOG_ERR("Failed to init BatteryState message");
        return false;
    }

    if (!rosidl_runtime_c__float__Sequence__init(&battery_msg.cell_voltage, BOARD_NUM_CELLS_MAX)) {
        LOG_ERR("Failed to init BatteryState cell_voltage sequence");
        sensor_msgs__msg__BatteryState__fini(&battery_msg);
        return false;
    }

    if (!rosidl_runtime_c__float__Sequence__init(&battery_msg.cell_temperature, BOARD_NUM_THERMISTORS_MAX)) {
        LOG_ERR("Failed to init BatteryState cell_temperature sequence");
        rosidl_runtime_c__float__Sequence__fini(&battery_msg.cell_voltage);
        sensor_msgs__msg__BatteryState__fini(&battery_msg);
        return false;
    }

    if (!rosidl_runtime_c__String__assign(&battery_msg.header.frame_id, "battery")) {
        LOG_WRN("Failed to set BatteryState frame_id");
    }

    (void)rosidl_runtime_c__String__assign(&battery_msg.location, "pack");
    // Leave serial_number empty by default

    battery_msg.design_capacity = BATTERY_NAN;
    battery_msg.capacity = BATTERY_NAN;
    battery_msg.charge = BATTERY_NAN;

    battery_msg_ready = true;
    return true;
}

static void battery_publisher_thread(void *, void *, void *) {
    k_thread_name_set(NULL, "battery_pub");

    uint32_t last_debug_ms = 0U;

    while (true) {
        if (!battery_message_prepare()) {
            k_sleep(K_SECONDS(1));
            continue;
        }

        const BmsStatus *status = &g_bms.status;
        const BmsConfig *conf = &g_bms.conf;

        battery_msg.header.stamp.sec = (int32_t)(ros_iface_epoch_millis() / 1000ULL);
        battery_msg.header.stamp.nanosec = (uint32_t)(ros_iface_epoch_nanos() % 1000000000ULL);

        battery_msg.voltage = status->pack_voltage;
        battery_msg.current = status->pack_current;
        battery_msg.temperature = status->bat_temp_avg;

        float soc_ratio = status->soc / 100.0f;
        if (soc_ratio < 0.0f) {
            soc_ratio = 0.0f;
        } else if (soc_ratio > 1.0f) {
            soc_ratio = 1.0f;
        }

        battery_msg.capacity = conf->nominal_capacity_Ah;
        battery_msg.design_capacity = conf->nominal_capacity_Ah;
        battery_msg.charge = (conf->nominal_capacity_Ah > 0.0f)
                                 ? conf->nominal_capacity_Ah * soc_ratio
                                 : BATTERY_NAN;
        battery_msg.percentage = soc_ratio;

        size_t voltage_count = 0U;
        for (size_t i = 0; i < BOARD_NUM_CELLS_MAX; ++i) {
            float v = status->cell_voltages[i];
            if (isfinite(v) && (v > 0.1f)) {
                battery_msg.cell_voltage.data[voltage_count++] = v;
            }
        }
        for (size_t i = voltage_count; i < battery_msg.cell_voltage.capacity; ++i) {
            battery_msg.cell_voltage.data[i] = BATTERY_NAN;
        }
        battery_msg.cell_voltage.size = voltage_count;

        size_t temp_count = 0U;
        for (size_t i = 0; i < BOARD_NUM_THERMISTORS_MAX; ++i) {
            float temp = status->bat_temps[i];
            if (isfinite(temp)) {
                battery_msg.cell_temperature.data[temp_count++] = temp;
            }
        }
        for (size_t i = temp_count; i < battery_msg.cell_temperature.capacity; ++i) {
            battery_msg.cell_temperature.data[i] = BATTERY_NAN;
        }
        battery_msg.cell_temperature.size = temp_count;

        battery_msg.present = (voltage_count > 0U);

        if (!battery_msg.present) {
            battery_msg.power_supply_status = sensor_msgs__msg__BatteryState__POWER_SUPPLY_STATUS_UNKNOWN;
            battery_msg.power_supply_health = sensor_msgs__msg__BatteryState__POWER_SUPPLY_HEALTH_UNKNOWN;
        } else {
            battery_msg.power_supply_status = bms_power_supply_status(status, status->pack_current);
            battery_msg.power_supply_health = bms_health_from_flags(status->error_flags);
        }

        battery_msg.power_supply_technology = sensor_msgs__msg__BatteryState__POWER_SUPPLY_TECHNOLOGY_LIPO;

        if (ros_initialized) {
            (void)ros_publish_try(&battery_pub, &battery_msg);
        } else {
            uint32_t now_ms = k_uptime_get_32();
            if ((now_ms - last_debug_ms) >= 1000U) {
                LOG_DBG("Battery: V=%.2f V I=%.2f A SoC=%.1f%% cell(min/avg/max)=%.3f/%.3f/%.3f flags=0x%08x state=%u",
                        (double)battery_msg.voltage,
                        (double)battery_msg.current,
                        (double)status->soc,
                        (double)status->cell_voltage_min,
                        (double)status->cell_voltage_avg,
                        (double)status->cell_voltage_max,
                        status->error_flags,
                        (unsigned int)status->state);
                last_debug_ms = now_ms;
            }
        }
        k_sleep(K_MSEC(BMS_PUBLISH_LOOP_DELAY_MS));
    }
}

static int setup_bms(void) {
    /* Proactively wake the BMS IC before first init attempt */
    if (wake_chip_init() == 0) {
        wake_chip_pulse_ms(50);
        wake_chip_release();
    }

    while (bms_init_hardware(&g_bms) != 0) {
        LOG_ERR("BMS hardware init failed, retry in 1s");
        if (wake_chip_init() == 0) {
            wake_chip_pulse_ms(50);
            wake_chip_release();
        }
        k_sleep(K_MSEC(1000));
    }
    LOG_INF("BMS hardware initialized");

    (void)bms_configure(&g_bms);
    bms_update(&g_bms);
    bms_soc_reset(&g_bms, -1);
    return 0;
}

// Initialize status + a reasonable default configuration early
static int bms_init_config_sys(void) {
    bms_init_status(&g_bms);
    // Default: generic LiPo, 8 Ah. Adjust via config later if needed.
    bms_init_config(&g_bms, CELL_TYPE_GENERIC_LIPO, 9);

    k_thread_create(&battery_thread_data, battery_thread_stack, BATTERY_PUBLISHER_STACK_SIZE,
                    battery_publisher_thread, NULL, NULL, NULL,
                    BATTERY_PUBLISHER_PRIORITY, 0, K_NO_WAIT);
    k_thread_name_set(&battery_thread_data, "battery_state");
    return 0;
}

SYS_INIT(bms_init_config_sys, APPLICATION, 0);

static void bms_thread(void *, void *, void *) {
    LOG_INF("BMS thread starting");
    soc_indicator_init();
    int64_t last_print = 0;

    while (true) {
        peak_charge_a = 0.0f;
        peak_discharge_a = 0.0f;
        setup_bms();
        int state = 0;
        while (state != -1) {
            bms_update(&g_bms);
            state = bms_state_machine(&g_bms);
            bms_soc_update(&g_bms);

            int64_t now = k_uptime_get();
            if (now - last_print >= 1000) {
                print_bms_status(&g_bms);
                last_print = now;
            }

            k_sleep(K_MSEC(100));
        }
        LOG_WRN("BMS state machine entered FATAL; reinitializing");
    }
}

// Priority lower than main; stack sized generously for I2C + logging
K_THREAD_DEFINE(bms_tid, 3072, bms_thread, NULL, NULL, NULL,
                3, 0, 0);

extern "C" float bms_get_soc_percent(void) {
    return g_bms.status.soc;
}
```
